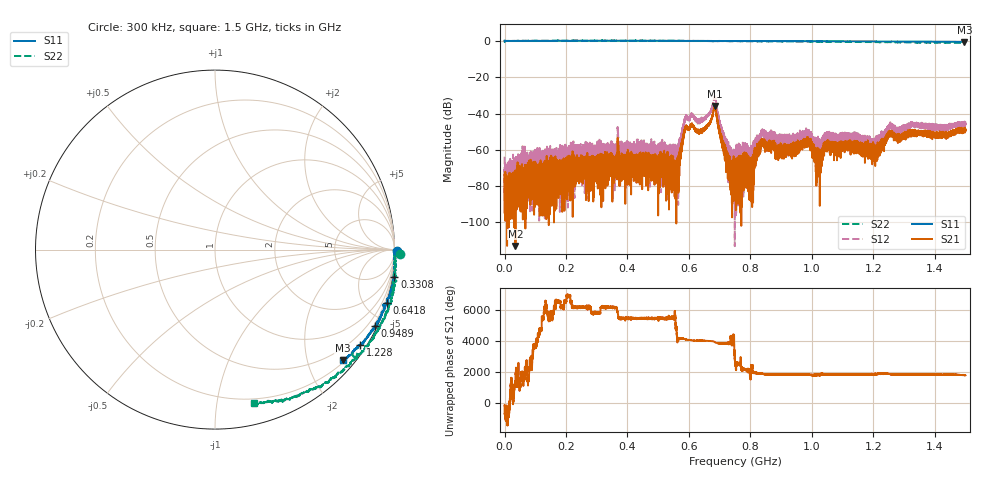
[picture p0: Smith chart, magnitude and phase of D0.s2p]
!Agilent Technologies,N5230C,SG49000117,A.08.50.07
!Agilent N5230C: A.08.50.07
!Date: Thursday, December 07, 2023 05:55:29
!Correction: S11(Full 2 Port(1,2))
!S21(Full 2 Port(1,2))
!S12(Full 2 Port(1,2))
!S22(Full 2 Port(1,2))
!S2P File: Measurements: S11, S21, S12, S22:
# Hz S  RI  R 50
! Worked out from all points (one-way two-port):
!   20001 points, 300 kHz to 1.5 GHz, reference 50 ohm
!   highest |S21| = -35.81 dB at 684.5 MHz (marker M1); lowest = -112.9 dB at 35.62 MHz (marker M2)
!   lowest |S11| = -0.5 dB at 1.497 GHz (marker M3), VSWR 32.75, Z = 12.5 - j133 ohm
!   |S11| at or under -10 dB: nowhere
!   |S22| runs from -1.1 to 0.3 dB; largest |S21 - S12| = 0.015
!   S11 on the Smith chart (normalised r, x): 300 kHz: open; 330.8 MHz: -1, -13; 641.8 MHz: -0.08, -6.64; 948.9 MHz: 0.13, -4.40; 1.228 GHz: 0.20, -3.33; 1.5 GHz: 0.24, -2.68
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300000  1.016 -0.00927  -0.000154 -0.000119  0.000354 0.000544  1.03 -0.025
3.561794e7  0.9994 -0.0208  -2.03e-06 -9.8e-07  8.3e-05 -2e-06  1.003 -0.0403
2.503e8  1.004 -0.1197  2.52e-05 0.00035  0.000208 0.000719  0.9938 -0.2336
3.307589e8  0.9998 -0.1508  -4.55e-05 0.000565  -9.62e-05 0.000855  0.9765 -0.2988
5.00225e8  0.9811 -0.231  -7.17e-05 0.000327  0.000453 0.00125  0.904 -0.4545
5.565387e8  0.9723 -0.2597  4.35e-06 0.000417  -0.000272 0.000517  0.8685 -0.5074
5.90432e8  0.9597 -0.2772  -0.0041 0.0012  -0.00802 0.0037  0.8505 -0.5366
6.417967e8  0.9592 -0.2956  0.000632 0.00339  0.00294 0.00609  0.82 -0.5747
6.844631e8  0.9359 -0.3089  0.016 -0.00263  0.0271 -0.0115  0.7685 -0.5843
7.341032e8  0.9398 -0.3337  1.74e-05 -0.000144  9.23e-05 -0.00109  0.7632 -0.6185
7.5015e8  0.9365 -0.3416  -0.000209 7.19e-05  -0.000121 -0.000204  0.7536 -0.6402
7.840432e8  0.9289 -0.3574  0.000544 -7.72e-05  0.000285 0.000288  0.7314 -0.6523
8.033144e8  0.9253 -0.3703  -0.000231 -7.83e-05  -0.000176 -8.79e-06  0.7127 -0.6737
8.396821e8  0.9156 -0.3853  -0.000377 0.00194  0.000578 0.00266  0.6873 -0.6849
9.489352e8  0.8903 -0.4262  0.000368 0.00124  0.00159 0.00163  0.6148 -0.7407
1.00015e9  0.8806 -0.4476  0.000968 0.000541  0.00203 0.000455  0.5766 -0.7638
1.021146e9  0.8735 -0.4518  0.000124 0.000556  0.000403 0.000989  0.5589 -0.7758
1.05114e9  0.8644 -0.4647  0.000215 0.00125  0.00102 0.0019  0.541 -0.779
1.227954e9  0.8086 -0.5311  -0.000252 0.000908  0.00051 0.00229  0.3918 -0.8371
1.250075e9  0.7988 -0.5357  -0.000204 0.00229  0.001 0.00333  0.381 -0.8437
1.497076e9  0.7122 -0.6146  0.00304 0.0012  0.0054 -0.00047  0.2149 -0.859
1.5e9  0.7149 -0.6156  0.00348 0.000943  0.00511 -0.000477  0.2182 -0.8523
